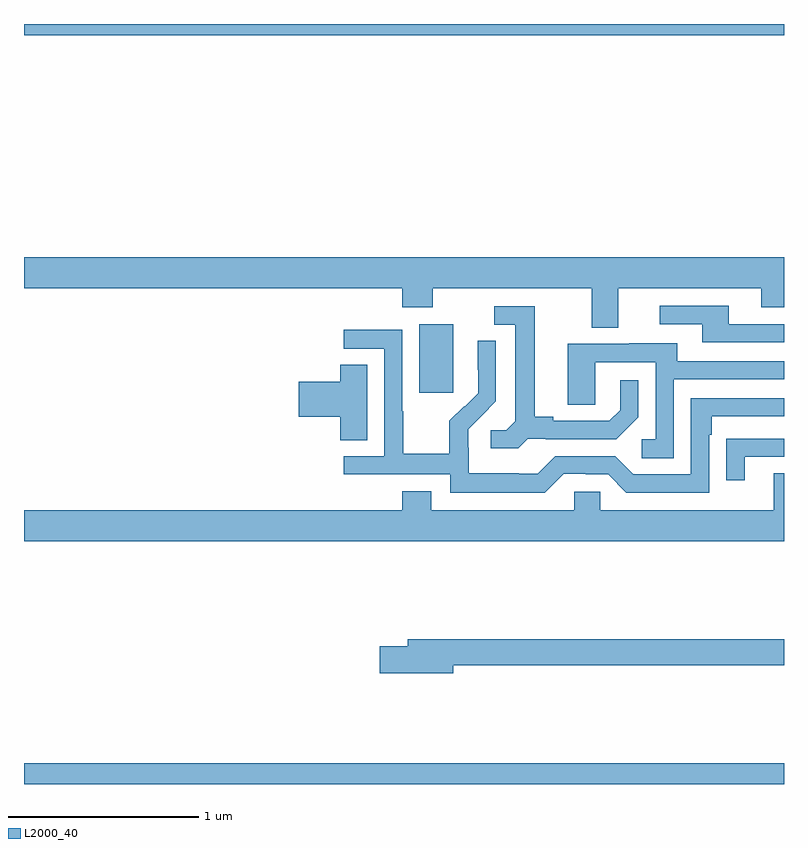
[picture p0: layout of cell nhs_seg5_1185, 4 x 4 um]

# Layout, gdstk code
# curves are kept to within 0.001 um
import gdstk
lib = gdstk.Library(unit=1e-6, precision=1e-09)
def R(c, l, rs):  # rectangles x0, y0, x1, y1
    for r in rs: c.add(gdstk.rectangle(r[:2], r[2:], *l))
def P(c, l, *ps):  # polygons
    for p in ps: c.add(gdstk.Polygon(p, *l))
L2000_40 = (2000, 40)

nhs_seg5_1185 = lib.new_cell('nhs_seg5_1185')
R(nhs_seg5_1185, L2000_40, [(183,872.799,187,872.908), (185.081,874.857,185.26,875.218), (183,876.74,187,876.799)])
P(nhs_seg5_1185, L2000_40, [(186.127,875.408),(186.881,875.408),(186.881,875.309),(187,875.309),(187,875.572),(183,875.572),(183,875.408),(184.991,875.408),(184.991,875.309),(185.151,875.309),(185.151,875.408),(185.987,875.408),(185.987,875.2),(186.127,875.2)],
  [(187,875.22),(186.709,875.22),(186.709,875.316),(186.345,875.316),(186.345,875.22),(186.569,875.22),(186.569,875.124),(187,875.124)],
  [(185.652,874.617),(185.746,874.617),(185.746,874.614),(186.118,874.614),(186.234,874.73),(186.234,874.924),(186.137,874.924),(186.137,874.767),(186.08,874.71),(185.785,874.71),(185.785,874.733),(185.689,874.733),(185.689,875.313),(185.475,875.313),(185.475,875.217),(185.585,875.217),(185.585,874.709),(185.538,874.662),(185.457,874.662),(185.457,874.565),(185.6,874.565)],
  [(185.841,874.431),(185.957,874.431),(185.957,874.428),(186.075,874.428),(186.171,874.332),(186.606,874.332),(186.606,874.637),(186.619,874.637),(186.619,874.734),(187,874.734),(187,874.83),(186.51,874.83),(186.51,874.428),(186.207,874.428),(186.111,874.524),(185.796,874.524),(185.703,874.431),(185.603,874.431),(185.603,874.435),(185.34,874.435),(185.34,874.569),(185.338,874.569),(185.338,874.666),(185.484,874.814),(185.484,875.132),(185.388,875.132),(185.388,874.978),(185.39,874.978),(185.39,874.856),(185.319,874.785),(185.316,874.788),(185.239,874.711),(185.239,874.537),(184.995,874.537),(184.995,874.76),(184.992,874.76),(184.992,875.19),(184.683,875.19),(184.683,875.091),(184.896,875.091),(184.896,874.524),(184.683,874.524),(184.683,874.428),(185.244,874.428),(185.244,874.331),(185.741,874.331)],
  [(186.42,874.929),(187,874.929),(187,875.025),(186.439,875.025),(186.439,875.119),(186.185,875.119),(186.185,875.115),(185.861,875.115),(185.861,874.795),(186.006,874.795),(186.006,875.019),(186.324,875.019),(186.324,874.614),(186.252,874.614),(186.252,874.513),(186.42,874.513)],
  [(184.807,875.006),(184.664,875.006),(184.664,874.916),(184.446,874.916),(184.446,874.733),(184.664,874.733),(184.664,874.609),(184.807,874.609)],
  [(186.793,874.521),(187,874.521),(187,874.617),(186.799,874.617),(186.799,874.616),(186.697,874.616),(186.697,874.398),(186.793,874.398)],
  [(187,874.435),(186.947,874.435),(186.947,874.24),(186.033,874.24),(186.033,874.338),(185.895,874.338),(185.895,874.24),(185.143,874.24),(185.143,874.339),(184.991,874.339),(184.991,874.24),(183,874.24),(183,874.076),(187,874.076)],
  [(185.26,873.424),(187,873.424),(187,873.56),(185.021,873.56),(185.021,873.524),(184.872,873.524),(184.872,873.382),(185.26,873.382)])

lib.write_gds('nhs_seg5_1185.gds')
